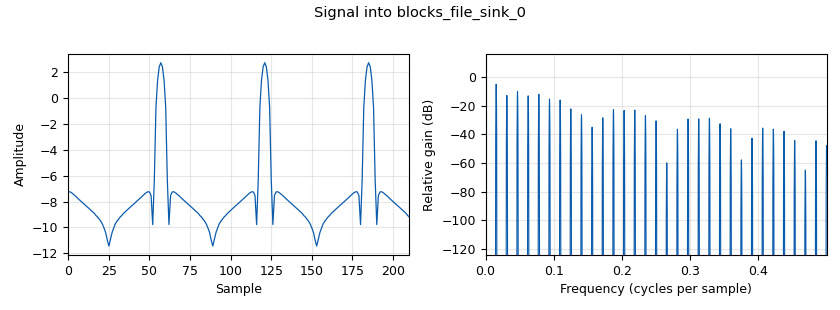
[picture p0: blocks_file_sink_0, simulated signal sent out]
options:
  parameters:
    generate_options: qt_gui
    id: spectrum_sampler_v2
    output_language: python
    title: spectrum_simple
  states: {}

blocks:
- name: samp_rate
  id: variable
  parameters:
    value: '32000'
  states: {}
- name: analog_sig_source_x_0
  id: analog_sig_source_x
  parameters:
    amp: '1'
    freq: '3000'
    offset: '0'
    phase: '0'
    samp_rate: samp_rate
    type: complex
    waveform: analog.GR_COS_WAVE
  states: {}
- name: blocks_complex_to_mag_squared_0
  id: blocks_complex_to_mag_squared
  parameters:
    vlen: fftlen
  states: {}
- name: blocks_copy_0
  id: blocks_copy
  parameters:
    enabled: 'True'
    showports: 'True'
    type: float
    vlen: fftlen
  states: {}
- name: blocks_file_sink_0
  id: blocks_file_sink
  parameters:
    file: filename
    type: float
    vlen: fftlen
  states: {}
- name: blocks_message_debug_0
  id: blocks_message_debug
  parameters: {}
  states: {}
- name: blocks_nlog10_ff_0
  id: blocks_nlog10_ff
  parameters:
    k: '0'
    n: '1'
    vlen: fftlen
  states: {}
- name: blocks_stream_to_vector_0
  id: blocks_stream_to_vector
  parameters:
    num_items: fftlen
    type: complex
  states: {}
- name: blocks_throttle_0
  id: blocks_throttle
  parameters:
    samples_per_second: samp_rate
    type: complex
  states: {}
- name: epy_block_0
  id: epy_block
  parameters:
    _source_code: |
      """
      Embedded Python Blocks:

      Each time this file is saved, GRC will instantiate the first class it finds
      to get ports and parameters of your block. The arguments to __init__  will
      be the parameters. All of them are required to have default values!
      """

      import numpy as np
      from gnuradio import gr
      import pmt
      import os
      import time

      class blk(gr.sync_block):  # other base classes are basic_block, decim_block, interp_block
          """blah blah"""

          def __init__(self, vectorlength = 64):  # only default arguments here
              """arguments to this function show up as parameters in GRC"""
              self.veclen = vectorlength
              gr.sync_block.__init__(
                  self,
                  name='Cycle Invert',   # will show up in GRC
                  in_sig=[(np.float32, self.veclen)],
                  out_sig=[(np.float32, self.veclen)]
                  
          
              )
              self.message_port_register_out(pmt.intern('toggle message'))
              # if an attribute with the same name as a parameter is found,
              # a callback is registered (properties work, too).
              self.togglemsg = True
              self.counter = 0

          def work(self, input_items, output_items):
              self.counter = self.counter + len(output_items[0][:])
              print(len(input_items[0]))
              output_items[0][:] = input_items[0]
              if(self.counter == 96):
                  self.togglemsg = not self.togglemsg
                  #print(len(output_items[0][:]), output_items[0][:])
                  self.message_port_pub(pmt.intern('toggle message'), pmt.to_pmt(self.togglemsg))
                  #self.counter = 0
              
              
              return len(output_items[0])
    vectorlength: fftlen
  states: {}
- name: fft_vxx_0
  id: fft_vxx
  parameters:
    fft_size: fftlen
    forward: 'True'
    nthreads: '2'
    shift: 'True'
    type: complex
    window: window.blackmanharris(fftlen)
  states: {}
- name: fftlen
  id: parameter
  parameters:
    label: length_fft
    type: intx
    value: '64'
  states: {}
- name: filename
  id: parameter
  parameters:
    label: output_filename
    type: str
    value: ./copytest.bin
  states: {}
- name: numsnaps
  id: parameter
  parameters:
    label: num_fftsamples
    type: intx
    value: '4'
  states: {}
- name: pad_source_0
  id: pad_source
  parameters:
    label: radio
    type: complex
  states: {state: disabled}
- name: virtual_sink_0
  id: virtual_sink
  parameters:
    stream_id: thesauce
  states: {}
- name: virtual_source_0
  id: virtual_source
  parameters:
    stream_id: thesauce
  states: {}

connections:
- [analog_sig_source_x_0, '0', blocks_throttle_0, '0']
- [blocks_complex_to_mag_squared_0, '0', blocks_nlog10_ff_0, '0']
- [blocks_copy_0, '0', blocks_file_sink_0, '0']
- [blocks_nlog10_ff_0, '0', epy_block_0, '0']
- [blocks_stream_to_vector_0, '0', fft_vxx_0, '0']
- [blocks_throttle_0, '0', virtual_sink_0, '0']
- [epy_block_0, '0', blocks_copy_0, '0']
- [epy_block_0, toggle message, blocks_copy_0, en]
- [epy_block_0, toggle message, blocks_message_debug_0, print]
- [fft_vxx_0, '0', blocks_complex_to_mag_squared_0, '0']
- [pad_source_0, '0', virtual_sink_0, '0']
- [virtual_source_0, '0', blocks_stream_to_vector_0, '0']

metadata:
  file_format: 1
  grc_version: v3.11.0.0git-38-g72311c07
